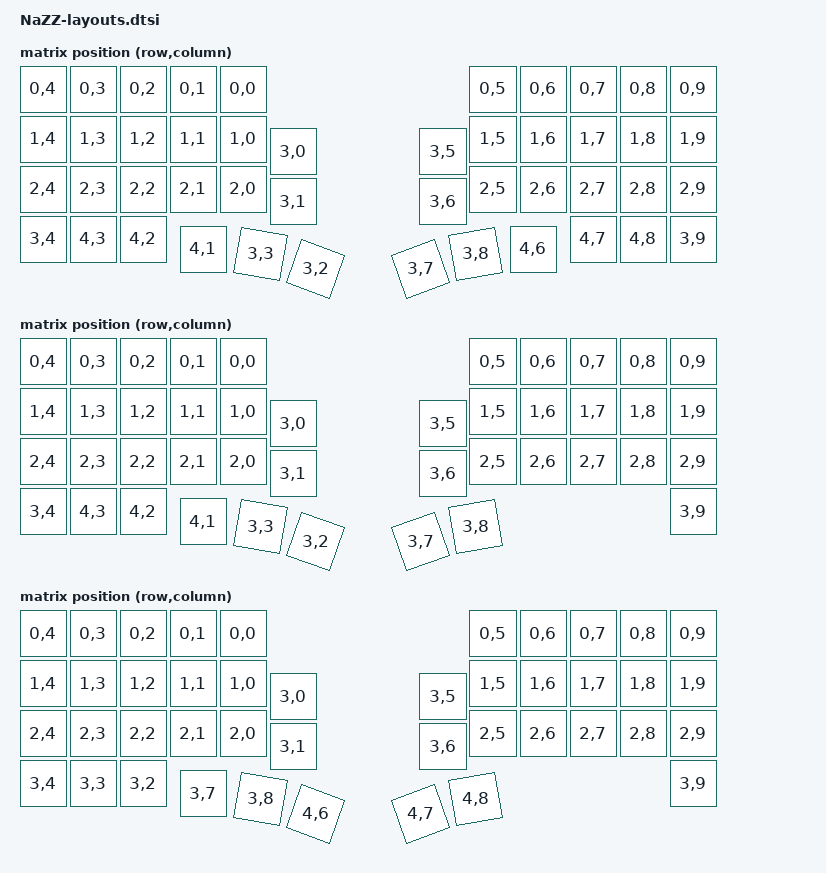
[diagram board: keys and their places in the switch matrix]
// NaZZ 物理配置（モジュール構成ごと）。この並びがキーマップのキー番号になる
//   tb_r: 左エンコーダ+右トラボ / tb_l: 左トラボ+右エンコーダ / tb_lr: 両手トラボ
//   full: 両手エンコーダ（キーが最も多いので position map の基準に使う）
// 生成元: 基板 NaZZ.kicad_pcb のスイッチ配置（SW番号は右手を表から見たもの）、位置と回転は config/NaZZ.json（右手は鏡写し）

#include <physical_layouts.dtsi>

/ {
    layout_full: layout_full {
        compatible = "zmk,physical-layout";
        display-name = "full";
        transform = <&transform_full>;
        keys  //                     w   h    x    y     rot    rx    ry
            = <&key_physical_attrs 100 100    0    0       0     0     0>  // L SW5
            , <&key_physical_attrs 100 100  100    0       0     0     0>  // L SW4
            , <&key_physical_attrs 100 100  200    0       0     0     0>  // L SW3
            , <&key_physical_attrs 100 100  300    0       0     0     0>  // L SW2
            , <&key_physical_attrs 100 100  400    0       0     0     0>  // L SW1
            , <&key_physical_attrs 100 100  900    0       0     0     0>  // R SW1
            , <&key_physical_attrs 100 100 1000    0       0     0     0>  // R SW2
            , <&key_physical_attrs 100 100 1100    0       0     0     0>  // R SW3
            , <&key_physical_attrs 100 100 1200    0       0     0     0>  // R SW4
            , <&key_physical_attrs 100 100 1300    0       0     0     0>  // R SW5
            , <&key_physical_attrs 100 100    0  100       0     0     0>  // L SW10
            , <&key_physical_attrs 100 100  100  100       0     0     0>  // L SW9
            , <&key_physical_attrs 100 100  200  100       0     0     0>  // L SW8
            , <&key_physical_attrs 100 100  300  100       0     0     0>  // L SW7
            , <&key_physical_attrs 100 100  400  100       0     0     0>  // L SW6
            , <&key_physical_attrs 100 100  500  125       0     0     0>  // L SW16
            , <&key_physical_attrs 100 100  800  125       0     0     0>  // R SW16
            , <&key_physical_attrs 100 100  900  100       0     0     0>  // R SW6
            , <&key_physical_attrs 100 100 1000  100       0     0     0>  // R SW7
            , <&key_physical_attrs 100 100 1100  100       0     0     0>  // R SW8
            , <&key_physical_attrs 100 100 1200  100       0     0     0>  // R SW9
            , <&key_physical_attrs 100 100 1300  100       0     0     0>  // R SW10
            , <&key_physical_attrs 100 100    0  200       0     0     0>  // L SW15
            , <&key_physical_attrs 100 100  100  200       0     0     0>  // L SW14
            , <&key_physical_attrs 100 100  200  200       0     0     0>  // L SW13
            , <&key_physical_attrs 100 100  300  200       0     0     0>  // L SW12
            , <&key_physical_attrs 100 100  400  200       0     0     0>  // L SW11
            , <&key_physical_attrs 100 100  500  225       0     0     0>  // L SW17
            , <&key_physical_attrs 100 100  800  225       0     0     0>  // R SW17
            , <&key_physical_attrs 100 100  900  200       0     0     0>  // R SW11
            , <&key_physical_attrs 100 100 1000  200       0     0     0>  // R SW12
            , <&key_physical_attrs 100 100 1100  200       0     0     0>  // R SW13
            , <&key_physical_attrs 100 100 1200  200       0     0     0>  // R SW14
            , <&key_physical_attrs 100 100 1300  200       0     0     0>  // R SW15
            , <&key_physical_attrs 100 100    0  300       0     0     0>  // L SW20
            , <&key_physical_attrs 100 100  100  300       0     0     0>  // L SW23
            , <&key_physical_attrs 100 100  200  300       0     0     0>  // L SW22
            , <&key_physical_attrs 100 100  320  320       0     0     0>  // L SW21
            , <&key_physical_attrs 100 100  435  330    1000   485   380>  // L SW19
            , <&key_physical_attrs 100 100  545  360    2000   595   410>  // L SW18
            , <&key_physical_attrs 100 100  755  360 (-2000)   805   410>  // R SW18
            , <&key_physical_attrs 100 100  865  330 (-1000)   915   380>  // R SW19
            , <&key_physical_attrs 100 100  980  320       0     0     0>  // R SW21
            , <&key_physical_attrs 100 100 1100  300       0     0     0>  // R SW22
            , <&key_physical_attrs 100 100 1200  300       0     0     0>  // R SW23
            , <&key_physical_attrs 100 100 1300  300       0     0     0>  // R SW20
            ;
    };

    layout_tb_r: layout_tb_r {
        compatible = "zmk,physical-layout";
        display-name = "tb-r";
        transform = <&transform_tb_r>;
        keys  //                     w   h    x    y     rot    rx    ry
            = <&key_physical_attrs 100 100    0    0       0     0     0>  // L SW5
            , <&key_physical_attrs 100 100  100    0       0     0     0>  // L SW4
            , <&key_physical_attrs 100 100  200    0       0     0     0>  // L SW3
            , <&key_physical_attrs 100 100  300    0       0     0     0>  // L SW2
            , <&key_physical_attrs 100 100  400    0       0     0     0>  // L SW1
            , <&key_physical_attrs 100 100  900    0       0     0     0>  // R SW1
            , <&key_physical_attrs 100 100 1000    0       0     0     0>  // R SW2
            , <&key_physical_attrs 100 100 1100    0       0     0     0>  // R SW3
            , <&key_physical_attrs 100 100 1200    0       0     0     0>  // R SW4
            , <&key_physical_attrs 100 100 1300    0       0     0     0>  // R SW5
            , <&key_physical_attrs 100 100    0  100       0     0     0>  // L SW10
            , <&key_physical_attrs 100 100  100  100       0     0     0>  // L SW9
            , <&key_physical_attrs 100 100  200  100       0     0     0>  // L SW8
            , <&key_physical_attrs 100 100  300  100       0     0     0>  // L SW7
            , <&key_physical_attrs 100 100  400  100       0     0     0>  // L SW6
            , <&key_physical_attrs 100 100  500  125       0     0     0>  // L SW16
            , <&key_physical_attrs 100 100  800  125       0     0     0>  // R SW16
            , <&key_physical_attrs 100 100  900  100       0     0     0>  // R SW6
            , <&key_physical_attrs 100 100 1000  100       0     0     0>  // R SW7
            , <&key_physical_attrs 100 100 1100  100       0     0     0>  // R SW8
            , <&key_physical_attrs 100 100 1200  100       0     0     0>  // R SW9
            , <&key_physical_attrs 100 100 1300  100       0     0     0>  // R SW10
            , <&key_physical_attrs 100 100    0  200       0     0     0>  // L SW15
            , <&key_physical_attrs 100 100  100  200       0     0     0>  // L SW14
            , <&key_physical_attrs 100 100  200  200       0     0     0>  // L SW13
            , <&key_physical_attrs 100 100  300  200       0     0     0>  // L SW12
            , <&key_physical_attrs 100 100  400  200       0     0     0>  // L SW11
            , <&key_physical_attrs 100 100  500  225       0     0     0>  // L SW17
            , <&key_physical_attrs 100 100  800  225       0     0     0>  // R SW17
            , <&key_physical_attrs 100 100  900  200       0     0     0>  // R SW11
            , <&key_physical_attrs 100 100 1000  200       0     0     0>  // R SW12
            , <&key_physical_attrs 100 100 1100  200       0     0     0>  // R SW13
            , <&key_physical_attrs 100 100 1200  200       0     0     0>  // R SW14
            , <&key_physical_attrs 100 100 1300  200       0     0     0>  // R SW15
            , <&key_physical_attrs 100 100    0  300       0     0     0>  // L SW20
            , <&key_physical_attrs 100 100  100  300       0     0     0>  // L SW23
            , <&key_physical_attrs 100 100  200  300       0     0     0>  // L SW22
            , <&key_physical_attrs 100 100  320  320       0     0     0>  // L SW21
            , <&key_physical_attrs 100 100  435  330    1000   485   380>  // L SW19
            , <&key_physical_attrs 100 100  545  360    2000   595   410>  // L SW18
            , <&key_physical_attrs 100 100  755  360 (-2000)   805   410>  // R SW18
            , <&key_physical_attrs 100 100  865  330 (-1000)   915   380>  // R SW19
            , <&key_physical_attrs 100 100 1300  300       0     0     0>  // R SW20
            ;
    };

    layout_tb_l: layout_tb_l {
        compatible = "zmk,physical-layout";
        display-name = "tb-l";
        transform = <&transform_tb_l>;
        keys  //                     w   h    x    y     rot    rx    ry
            = <&key_physical_attrs 100 100    0    0       0     0     0>  // L SW5
            , <&key_physical_attrs 100 100  100    0       0     0     0>  // L SW4
            , <&key_physical_attrs 100 100  200    0       0     0     0>  // L SW3
            , <&key_physical_attrs 100 100  300    0       0     0     0>  // L SW2
            , <&key_physical_attrs 100 100  400    0       0     0     0>  // L SW1
            , <&key_physical_attrs 100 100  900    0       0     0     0>  // R SW1
            , <&key_physical_attrs 100 100 1000    0       0     0     0>  // R SW2
            , <&key_physical_attrs 100 100 1100    0       0     0     0>  // R SW3
            , <&key_physical_attrs 100 100 1200    0       0     0     0>  // R SW4
            , <&key_physical_attrs 100 100 1300    0       0     0     0>  // R SW5
            , <&key_physical_attrs 100 100    0  100       0     0     0>  // L SW10
            , <&key_physical_attrs 100 100  100  100       0     0     0>  // L SW9
            , <&key_physical_attrs 100 100  200  100       0     0     0>  // L SW8
            , <&key_physical_attrs 100 100  300  100       0     0     0>  // L SW7
            , <&key_physical_attrs 100 100  400  100       0     0     0>  // L SW6
            , <&key_physical_attrs 100 100  500  125       0     0     0>  // L SW16
            , <&key_physical_attrs 100 100  800  125       0     0     0>  // R SW16
            , <&key_physical_attrs 100 100  900  100       0     0     0>  // R SW6
            , <&key_physical_attrs 100 100 1000  100       0     0     0>  // R SW7
            , <&key_physical_attrs 100 100 1100  100       0     0     0>  // R SW8
            , <&key_physical_attrs 100 100 1200  100       0     0     0>  // R SW9
            , <&key_physical_attrs 100 100 1300  100       0     0     0>  // R SW10
            , <&key_physical_attrs 100 100    0  200       0     0     0>  // L SW15
            , <&key_physical_attrs 100 100  100  200       0     0     0>  // L SW14
            , <&key_physical_attrs 100 100  200  200       0     0     0>  // L SW13
            , <&key_physical_attrs 100 100  300  200       0     0     0>  // L SW12
            , <&key_physical_attrs 100 100  400  200       0     0     0>  // L SW11
            , <&key_physical_attrs 100 100  500  225       0     0     0>  // L SW17
            , <&key_physical_attrs 100 100  800  225       0     0     0>  // R SW17
            , <&key_physical_attrs 100 100  900  200       0     0     0>  // R SW11
            , <&key_physical_attrs 100 100 1000  200       0     0     0>  // R SW12
            , <&key_physical_attrs 100 100 1100  200       0     0     0>  // R SW13
            , <&key_physical_attrs 100 100 1200  200       0     0     0>  // R SW14
            , <&key_physical_attrs 100 100 1300  200       0     0     0>  // R SW15
            , <&key_physical_attrs 100 100    0  300       0     0     0>  // L SW20
            , <&key_physical_attrs 100 100  435  330    1000   485   380>  // L SW19
            , <&key_physical_attrs 100 100  545  360    2000   595   410>  // L SW18
            , <&key_physical_attrs 100 100  755  360 (-2000)   805   410>  // R SW18
            , <&key_physical_attrs 100 100  865  330 (-1000)   915   380>  // R SW19
            , <&key_physical_attrs 100 100  980  320       0     0     0>  // R SW21
            , <&key_physical_attrs 100 100 1100  300       0     0     0>  // R SW22
            , <&key_physical_attrs 100 100 1200  300       0     0     0>  // R SW23
            , <&key_physical_attrs 100 100 1300  300       0     0     0>  // R SW20
            ;
    };

    layout_tb_lr: layout_tb_lr {
        compatible = "zmk,physical-layout";
        display-name = "tb-lr";
        transform = <&transform_tb_lr>;
        keys  //                     w   h    x    y     rot    rx    ry
            = <&key_physical_attrs 100 100    0    0       0     0     0>  // L SW5
            , <&key_physical_attrs 100 100  100    0       0     0     0>  // L SW4
            , <&key_physical_attrs 100 100  200    0       0     0     0>  // L SW3
            , <&key_physical_attrs 100 100  300    0       0     0     0>  // L SW2
            , <&key_physical_attrs 100 100  400    0       0     0     0>  // L SW1
            , <&key_physical_attrs 100 100  900    0       0     0     0>  // R SW1
            , <&key_physical_attrs 100 100 1000    0       0     0     0>  // R SW2
            , <&key_physical_attrs 100 100 1100    0       0     0     0>  // R SW3
            , <&key_physical_attrs 100 100 1200    0       0     0     0>  // R SW4
            , <&key_physical_attrs 100 100 1300    0       0     0     0>  // R SW5
            , <&key_physical_attrs 100 100    0  100       0     0     0>  // L SW10
            , <&key_physical_attrs 100 100  100  100       0     0     0>  // L SW9
            , <&key_physical_attrs 100 100  200  100       0     0     0>  // L SW8
            , <&key_physical_attrs 100 100  300  100       0     0     0>  // L SW7
            , <&key_physical_attrs 100 100  400  100       0     0     0>  // L SW6
            , <&key_physical_attrs 100 100  500  125       0     0     0>  // L SW16
            , <&key_physical_attrs 100 100  800  125       0     0     0>  // R SW16
            , <&key_physical_attrs 100 100  900  100       0     0     0>  // R SW6
            , <&key_physical_attrs 100 100 1000  100       0     0     0>  // R SW7
            , <&key_physical_attrs 100 100 1100  100       0     0     0>  // R SW8
            , <&key_physical_attrs 100 100 1200  100       0     0     0>  // R SW9
            , <&key_physical_attrs 100 100 1300  100       0     0     0>  // R SW10
            , <&key_physical_attrs 100 100    0  200       0     0     0>  // L SW15
            , <&key_physical_attrs 100 100  100  200       0     0     0>  // L SW14
            , <&key_physical_attrs 100 100  200  200       0     0     0>  // L SW13
            , <&key_physical_attrs 100 100  300  200       0     0     0>  // L SW12
            , <&key_physical_attrs 100 100  400  200       0     0     0>  // L SW11
            , <&key_physical_attrs 100 100  500  225       0     0     0>  // L SW17
            , <&key_physical_attrs 100 100  800  225       0     0     0>  // R SW17
            , <&key_physical_attrs 100 100  900  200       0     0     0>  // R SW11
            , <&key_physical_attrs 100 100 1000  200       0     0     0>  // R SW12
            , <&key_physical_attrs 100 100 1100  200       0     0     0>  // R SW13
            , <&key_physical_attrs 100 100 1200  200       0     0     0>  // R SW14
            , <&key_physical_attrs 100 100 1300  200       0     0     0>  // R SW15
            , <&key_physical_attrs 100 100    0  300       0     0     0>  // L SW20
            , <&key_physical_attrs 100 100  435  330    1000   485   380>  // L SW19
            , <&key_physical_attrs 100 100  545  360    2000   595   410>  // L SW18
            , <&key_physical_attrs 100 100  755  360 (-2000)   805   410>  // R SW18
            , <&key_physical_attrs 100 100  865  330 (-1000)   915   380>  // R SW19
            , <&key_physical_attrs 100 100 1300  300       0     0     0>  // R SW20
            ;
    };

    transform_full: transform_full {
        compatible = "zmk,matrix-transform";
        columns = <10>;
        rows = <5>;
        map = <
            RC(0,4) RC(0,3) RC(0,2) RC(0,1) RC(0,0)                         RC(0,5) RC(0,6) RC(0,7) RC(0,8) RC(0,9)
            RC(1,4) RC(1,3) RC(1,2) RC(1,1) RC(1,0) RC(3,0)         RC(3,5) RC(1,5) RC(1,6) RC(1,7) RC(1,8) RC(1,9)
            RC(2,4) RC(2,3) RC(2,2) RC(2,1) RC(2,0) RC(3,1)         RC(3,6) RC(2,5) RC(2,6) RC(2,7) RC(2,8) RC(2,9)
            RC(3,4) RC(4,3) RC(4,2) RC(4,1) RC(3,3) RC(3,2)         RC(3,7) RC(3,8) RC(4,6) RC(4,7) RC(4,8) RC(3,9)
        >;
    };

    transform_tb_r: transform_tb_r {
        compatible = "zmk,matrix-transform";
        columns = <10>;
        rows = <5>;
        map = <
            RC(0,4) RC(0,3) RC(0,2) RC(0,1) RC(0,0)                         RC(0,5) RC(0,6) RC(0,7) RC(0,8) RC(0,9)
            RC(1,4) RC(1,3) RC(1,2) RC(1,1) RC(1,0) RC(3,0)         RC(3,5) RC(1,5) RC(1,6) RC(1,7) RC(1,8) RC(1,9)
            RC(2,4) RC(2,3) RC(2,2) RC(2,1) RC(2,0) RC(3,1)         RC(3,6) RC(2,5) RC(2,6) RC(2,7) RC(2,8) RC(2,9)
            RC(3,4) RC(4,3) RC(4,2) RC(4,1) RC(3,3) RC(3,2)         RC(3,7) RC(3,8)                         RC(3,9)
        >;
    };

    transform_tb_l: transform_tb_l {
        compatible = "zmk,matrix-transform";
        columns = <10>;
        rows = <5>;
        map = <
            RC(0,4) RC(0,3) RC(0,2) RC(0,1) RC(0,0)                         RC(0,5) RC(0,6) RC(0,7) RC(0,8) RC(0,9)
            RC(1,4) RC(1,3) RC(1,2) RC(1,1) RC(1,0) RC(3,0)         RC(3,5) RC(1,5) RC(1,6) RC(1,7) RC(1,8) RC(1,9)
            RC(2,4) RC(2,3) RC(2,2) RC(2,1) RC(2,0) RC(3,1)         RC(3,6) RC(2,5) RC(2,6) RC(2,7) RC(2,8) RC(2,9)
            RC(3,4)                         RC(3,3) RC(3,2)         RC(3,7) RC(3,8) RC(4,6) RC(4,7) RC(4,8) RC(3,9)
        >;
    };

    transform_tb_lr: transform_tb_lr {
        compatible = "zmk,matrix-transform";
        columns = <10>;
        rows = <5>;
        map = <
            RC(0,4) RC(0,3) RC(0,2) RC(0,1) RC(0,0)                         RC(0,5) RC(0,6) RC(0,7) RC(0,8) RC(0,9)
            RC(1,4) RC(1,3) RC(1,2) RC(1,1) RC(1,0) RC(3,0)         RC(3,5) RC(1,5) RC(1,6) RC(1,7) RC(1,8) RC(1,9)
            RC(2,4) RC(2,3) RC(2,2) RC(2,1) RC(2,0) RC(3,1)         RC(3,6) RC(2,5) RC(2,6) RC(2,7) RC(2,8) RC(2,9)
            RC(3,4)                         RC(3,3) RC(3,2)         RC(3,7) RC(3,8)                         RC(3,9)
        >;
    };

    // Studio で物理配置を切り替えたときに割り当てを引き継ぐ対応表（基準: full）
    layout_position_map {
        compatible = "zmk,physical-layout-position-map";
        complete;

        map_full {
            physical-layout = <&layout_full>;
            positions = <0 1 2 3 4 5 6 7 8 9 10 11 12 13 14 15 16 17 18 19 20 21 22 23 24 25 26 27 28 29 30 31 32 33 34 35 36 37 38 39 40 41 42 43 44 45>;
        };
        map_tb_r {
            physical-layout = <&layout_tb_r>;
            positions = <0 1 2 3 4 5 6 7 8 9 10 11 12 13 14 15 16 17 18 19 20 21 22 23 24 25 26 27 28 29 30 31 32 33 34 35 36 37 38 39 40 41 45 44 43 42>;
        };
        map_tb_l {
            physical-layout = <&layout_tb_l>;
            positions = <0 1 2 3 4 5 6 7 8 9 10 11 12 13 14 15 16 17 18 19 20 21 22 23 24 25 26 27 28 29 30 31 32 33 34 45 44 43 35 36 37 38 39 40 41 42>;
        };
        map_tb_lr {
            physical-layout = <&layout_tb_lr>;
            positions = <0 1 2 3 4 5 6 7 8 9 10 11 12 13 14 15 16 17 18 19 20 21 22 23 24 25 26 27 28 29 30 31 32 33 34 45 44 43 35 36 37 38 42 41 40 39>;
        };
    };
};
